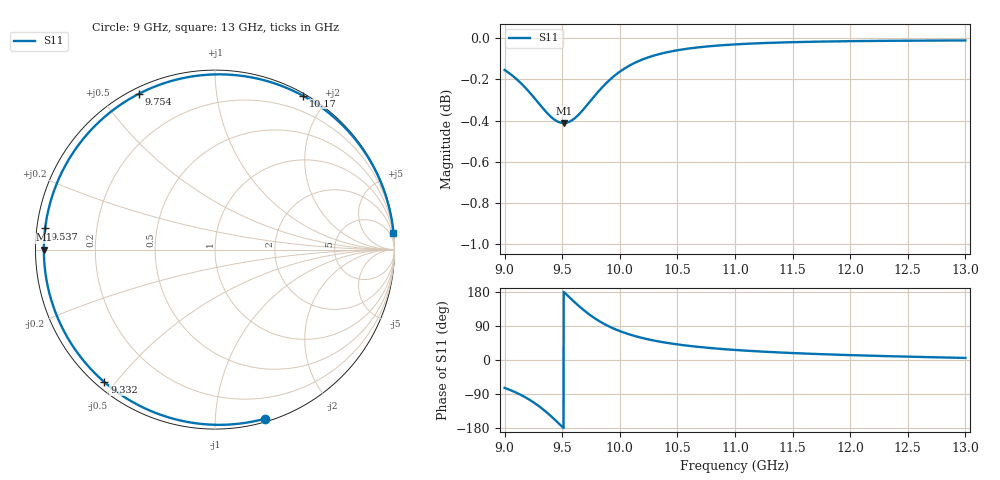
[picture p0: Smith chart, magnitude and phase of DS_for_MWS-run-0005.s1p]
! TOUCHSTONE file generated by CST DESIGN STUDIO
! Date and time: Tue Feb  4 13:33:44 2025
! Project name: C:\Work\MatlabApps\UnitCellOptimizationMatlab\CST\unitcell.cst
! Tree item: Tasks\Sweep1\SPara1\S-Parameters
! Header version: 2024
! Port assignment regex: !\s*Touchstone port\s*([0-9]+)\s*=\s*(CST MWS port|CST DES external port|CST DES block port)\s*(.+)\s* \(\"(.*)\"\)(\s*mode\s*([0-9]+))?.*
! Touchstone port assignment:
! Touchstone port 1 = CST DES external port 1 ("")
# GHz S MA R 50
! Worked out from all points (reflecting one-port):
!   4001 points, 9 GHz to 13 GHz, reference 50 ohm
!   lowest |S11| = -0.4 dB at 9.513 GHz (marker M1), VSWR 42.13, Z = 1.19 + j0.00186 ohm
!   phase of S11 starts at -74 deg and turns -281 deg over the sweep
!   S11 on the Smith chart (normalised r, x): 9 GHz: 0.02, -1.34; 9.332 GHz: 0.02, -0.47; 9.537 GHz: 0.02, +0.06; 9.754 GHz: 0.02, +0.62; 10.17 GHz: 0.03, +1.72; 13 GHz: 0, +21
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9  0.9824 -73.6
9.089  0.9782 -84.5
9.193  0.9718 -100.7
9.266  0.9665 -114.9
9.332  0.9616 -129.9
9.378  0.9584 -141.6
9.425  0.9558 -154.4
9.463  0.9543 -165.3
9.5  0.9537 -176.2
9.513  0.9536 180.0
9.537  0.9538 172.9
9.591  0.9554 157.2
9.651  0.9587 140.7
9.702  0.9623 127.9
9.754  0.9662 116.0
9.805  0.97 105.7
9.861  0.9738 95.8
10  0.9815 76.3
10.08  0.9847 67.9
10.167  0.9874 60.3
10.319  0.9908 50.0
10.5  0.9933 41.2
10.722  0.9952 33.4
11  0.9966 26.5
11.5  0.9978 18.3
12  0.9984 12.9
12.5  0.9986 8.8
13  0.9988 5.5
